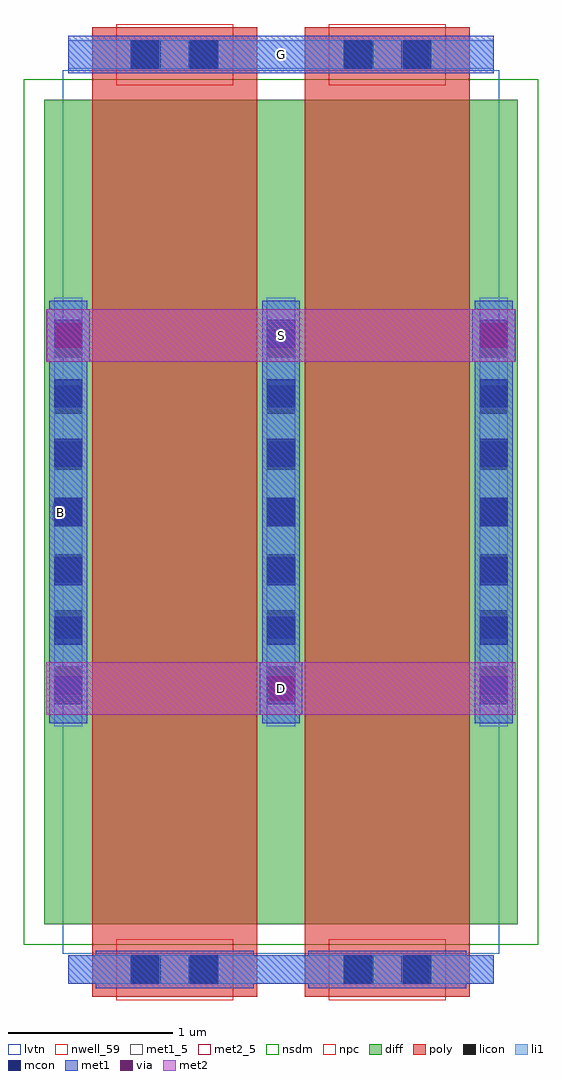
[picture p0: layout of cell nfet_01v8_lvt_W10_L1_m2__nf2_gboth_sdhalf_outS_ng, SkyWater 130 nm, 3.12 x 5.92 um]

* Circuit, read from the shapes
.subckt nfet_01v8_lvt_W10_L1_m2__nf2_gboth_sdhalf_outS_ng B D G S
XM1 D G S B sky130_fd_pr__nfet_01v8_lvt w=5 l=1 m=2
.ends

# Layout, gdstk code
import gdstk
lib = gdstk.Library(unit=1e-6, precision=1e-09)
def R(c, l, rs):  # rectangles x0, y0, x1, y1
    for r in rs: c.add(gdstk.rectangle(r[:2], r[2:], *l))
def A(c, l, x, y, w, h, nx, ny, dx, dy):  # array of equal rectangles
    R(c, l, [(x+i*dx, y+j*dy, x+i*dx+w, y+j*dy+h) for i in range(nx) for j in range(ny)])
nwell_59 = (64, 59)
diff = (65, 20)
poly = (66, 20)
licon = (66, 44)
li1 = (67, 20)
mcon = (67, 44)
met1_5 = (68, 5)
met1 = (68, 20)
via = (68, 44)
met2_5 = (69, 5)
met2 = (69, 20)
nsdm = (93, 44)
npc = (95, 20)
lvtn = (125, 44)

sky130_fd_pr__nfet_01v8_ = lib.new_cell('sky130_fd_pr__nfet_01v8_lvt_YV2BGV')
R(sky130_fd_pr__nfet_01v8_, diff, [(-1.435,-2.5,1.435,2.5)])
R(sky130_fd_pr__nfet_01v8_, poly, [(-1.145,-2.94,-0.145,2.94), (0.145,-2.94,1.145,2.94)])
A(sky130_fd_pr__nfet_01v8_, licon, -1.375, -1.105, 0.17, 0.17, 3, 7, 1.29, 0.34)
R(sky130_fd_pr__nfet_01v8_, licon, [(-0.9,-2.86,-0.73,-2.69), (-0.56,-2.86,-0.39,-2.69), (0.39,-2.86,0.56,-2.69), (0.73,-2.86,0.9,-2.69), (-0.9,2.69,-0.73,2.86), (-0.56,2.69,-0.39,2.86), (0.39,2.69,0.56,2.86), (0.73,2.69,0.9,2.86)])
A(sky130_fd_pr__nfet_01v8_, li1, -1.375, -1.3, 0.17, 2.6, 3, 1, 1.29, 0)
R(sky130_fd_pr__nfet_01v8_, li1, [(-1.29,-2.86,1.29,-2.69), (-1.29,2.69,1.29,2.86)])
A(sky130_fd_pr__nfet_01v8_, mcon, -1.375, -1.165, 0.17, 0.17, 3, 7, 1.29, 0.36)
R(sky130_fd_pr__nfet_01v8_, mcon, [(-0.91,-2.86,-0.74,-2.69), (-0.55,-2.86,-0.38,-2.69), (0.38,-2.86,0.55,-2.69), (0.74,-2.86,0.91,-2.69), (-0.91,2.69,-0.74,2.86), (-0.55,2.69,-0.38,2.86), (0.38,2.69,0.55,2.86), (0.74,2.69,0.91,2.86)])
A(sky130_fd_pr__nfet_01v8_, met1, -1.405, -1.28, 0.23, 2.56, 3, 1, 1.29, 0)
R(sky130_fd_pr__nfet_01v8_, met1, [(-1.125,-2.89,-0.165,-2.86), (0.165,-2.89,1.125,-2.86), (-1.29,-2.86,1.29,-2.69), (-1.125,-2.69,-0.165,-2.66), (0.165,-2.69,1.125,-2.66), (-1.125,2.66,-0.165,2.69), (0.165,2.66,1.125,2.69), (-1.29,2.69,1.29,2.86), (-1.125,2.86,-0.165,2.89), (0.165,2.86,1.125,2.89)])
R(sky130_fd_pr__nfet_01v8_, nsdm, [(-1.56,-2.625,1.56,2.625)])
R(sky130_fd_pr__nfet_01v8_, npc, [(-1,-2.96,-0.29,-2.59), (0.29,-2.96,1,-2.59), (-1,2.59,-0.29,2.96), (0.29,2.59,1,2.96)])
R(sky130_fd_pr__nfet_01v8_, lvtn, [(-1.325,-2.68,1.325,2.68)])
sky130_fd_pr__nfet_01v8_.add(gdstk.Label('D0', (-1.29,0), layer=67, texttype=5))
sky130_fd_pr__nfet_01v8_.add(gdstk.Label('G', (0.645,2.775), layer=67, texttype=5))
sky130_fd_pr__nfet_01v8_.add(gdstk.Label('G', (-0.645,2.775), layer=67, texttype=5))
sky130_fd_pr__nfet_01v8_.add(gdstk.Label('S1', (0,0), layer=67, texttype=5))

nfet_01v8_lvt_w10_l1_m2_ = lib.new_cell('nfet_01v8_lvt_W10_L1_m2__nf2_gboth_sdhalf_outS_ng')
R(nfet_01v8_lvt_w10_l1_m2_, nwell_59, [(0.05,2.89,0.15,2.99)])
R(nfet_01v8_lvt_w10_l1_m2_, met1_5, [(0.145,5.6,2.725,5.83)])
R(nfet_01v8_lvt_w10_l1_m2_, met1, [(1.305,1.71,1.565,2.03), (0.015,3.85,0.275,4.17), (2.595,3.85,2.855,4.17), (0.145,5.6,2.725,5.83)])
R(nfet_01v8_lvt_w10_l1_m2_, via, [(1.36,1.795,1.51,1.945), (0.07,3.935,0.22,4.085), (2.65,3.935,2.8,4.085)])
R(nfet_01v8_lvt_w10_l1_m2_, met2_5, [(0.01,1.71,2.86,2.03), (0.01,3.85,2.86,4.17)])
R(nfet_01v8_lvt_w10_l1_m2_, met2, [(0.01,1.71,2.86,2.03), (0.01,3.85,2.86,4.17)])
nfet_01v8_lvt_w10_l1_m2_.add(gdstk.Reference(sky130_fd_pr__nfet_01v8_, (1.435,2.94)))
nfet_01v8_lvt_w10_l1_m2_.add(gdstk.Label('S', (1.435,4.01), layer=69, texttype=5))
nfet_01v8_lvt_w10_l1_m2_.add(gdstk.Label('D', (1.435,1.87), layer=69, texttype=5))
nfet_01v8_lvt_w10_l1_m2_.add(gdstk.Label('G', (1.435,5.715), layer=68, texttype=5))
nfet_01v8_lvt_w10_l1_m2_.add(gdstk.Label('B', (0.1,2.94), layer=64, texttype=59))

lib.write_gds('nfet_01v8_lvt_W10_L1_m2__nf2_gboth_sdhalf_outS_ng.gds')
